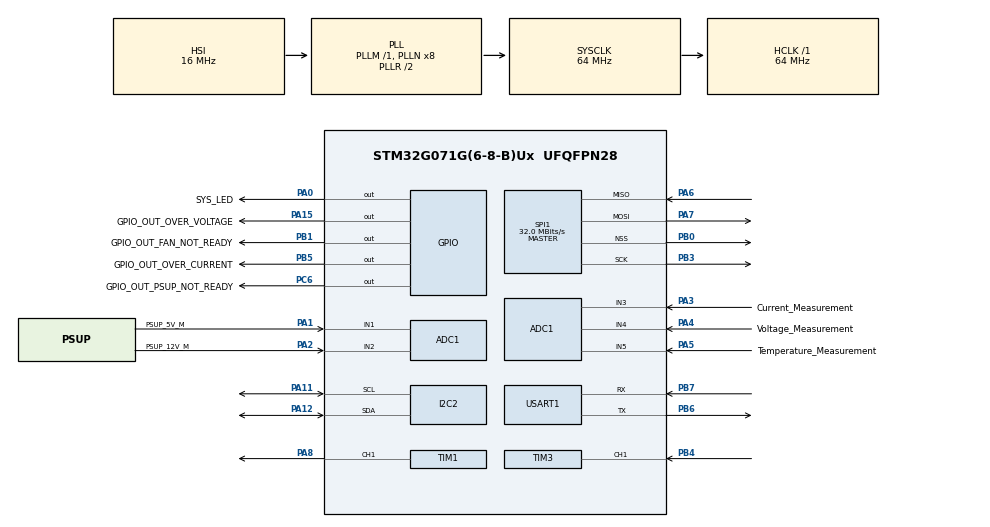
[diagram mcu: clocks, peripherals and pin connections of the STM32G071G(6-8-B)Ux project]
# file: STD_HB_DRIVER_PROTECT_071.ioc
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ADC1.Channel-0\#ChannelRegularConversion=ADC_CHANNEL_1
ADC1.Channel-1\#ChannelRegularConversion=ADC_CHANNEL_2
ADC1.Channel-2\#ChannelRegularConversion=ADC_CHANNEL_3
ADC1.Channel-3\#ChannelRegularConversion=ADC_CHANNEL_4
ADC1.Channel-4\#ChannelRegularConversion=ADC_CHANNEL_5
ADC1.ContinuousConvMode=DISABLE
ADC1.DMAContinuousRequests=ENABLE
ADC1.EOCSelection=ADC_EOC_SEQ_CONV
ADC1.ExternalTrigConv=ADC_EXTERNALTRIG_T6_TRGO
ADC1.NbrOfConversion=5
ADC1.NbrOfConversionFlag=1
ADC1.Overrun=ADC_OVR_DATA_OVERWRITTEN
ADC1.Rank-0\#ChannelRegularConversion=1
ADC1.Rank-1\#ChannelRegularConversion=2
ADC1.Rank-2\#ChannelRegularConversion=3
ADC1.Rank-3\#ChannelRegularConversion=4
ADC1.Rank-4\#ChannelRegularConversion=5
ADC1.SamplingTime-0\#ChannelRegularConversion=ADC_SAMPLINGTIME_COMMON_1
ADC1.SamplingTime-1\#ChannelRegularConversion=ADC_SAMPLINGTIME_COMMON_1
ADC1.SamplingTime-2\#ChannelRegularConversion=ADC_SAMPLINGTIME_COMMON_1
ADC1.SamplingTime-3\#ChannelRegularConversion=ADC_SAMPLINGTIME_COMMON_1
ADC1.SamplingTime-4\#ChannelRegularConversion=ADC_SAMPLINGTIME_COMMON_1
ADC1.SamplingTimeCommon1=ADC_SAMPLETIME_7CYCLES_5
ADC1.SamplingTimeCommon2=ADC_SAMPLETIME_7CYCLES_5
ADC1.SelectedChannel=ADC_CHANNEL_1|ADC_CHANNEL_2|ADC_CHANNEL_3|ADC_CHANNEL_4|ADC_CHANNEL_5
ADC1.master=1
Dma.ADC1.0.Direction=DMA_PERIPH_TO_MEMORY
Dma.ADC1.0.EventEnable=DISABLE
Dma.ADC1.0.Instance=DMA1_Channel1
Dma.ADC1.0.MemDataAlignment=DMA_MDATAALIGN_HALFWORD
Dma.ADC1.0.MemInc=DMA_MINC_ENABLE
Dma.ADC1.0.Mode=DMA_CIRCULAR
Dma.ADC1.0.PeriphDataAlignment=DMA_PDATAALIGN_HALFWORD
Dma.ADC1.0.PeriphInc=DMA_PINC_DISABLE
Dma.ADC1.0.Polarity=HAL_DMAMUX_REQ_GEN_RISING
Dma.ADC1.0.Priority=DMA_PRIORITY_VERY_HIGH
Dma.ADC1.0.RequestNumber=1
Dma.ADC1.0.SignalID=NONE
Dma.ADC1.0.SyncEnable=DISABLE
Dma.ADC1.0.SyncPolarity=HAL_DMAMUX_SYNC_NO_EVENT
Dma.ADC1.0.SyncRequestNumber=1
Dma.ADC1.0.SyncSignalID=NONE
Dma.Request0=ADC1
I2C2.Timing=0x10B17DB5
Mcu.Family=STM32G0
Mcu.Name=STM32G071G(6-8-B)Ux
Mcu.Package=UFQFPN28
NVIC.ADC1_COMP_IRQn=true\:0\:0\:false\:false\:true\:true\:true\:true
NVIC.DMA1_Channel1_IRQn=true\:0\:0\:false\:false\:true\:false\:true\:true
NVIC.TIM3_IRQn=true\:1\:0\:true\:true\:true\:1\:true\:true\:true
NVIC.TIM6_DAC_LPTIM1_IRQn=true\:0\:0\:false\:false\:true\:true\:true\:true
NVIC.USART1_IRQn=true\:0\:0\:false\:false\:true\:true\:true\:true
PA0.GPIO_Label=SYS_LED
PA0.Signal=GPIO_Output
PA1.GPIO_Label=PSUP_5V_M
PA1.Mode=IN1
PA1.Signal=ADC1_IN1
PA11\ [PA9].Mode=I2C
PA11\ [PA9].Signal=I2C2_SCL
PA12\ [PA10].Mode=I2C
PA12\ [PA10].Signal=I2C2_SDA
PA13.Mode=Serial_Wire
PA13.Signal=SYS_SWDIO
PA14-BOOT0.Mode=Serial_Wire
PA14-BOOT0.Signal=SYS_SWCLK
PA15.GPIO_Label=GPIO_OUT_OVER_VOLTAGE
PA15.GPIO_PuPd=GPIO_PULLUP
PA15.GPIO_Speed=GPIO_SPEED_FREQ_VERY_HIGH
PA15.PinState=GPIO_PIN_SET
PA15.Signal=GPIO_Output
PA2.GPIO_Label=PSUP_12V_M
PA2.Mode=IN2
PA2.Signal=ADC1_IN2
PA3.GPIO_Label=Current_Measurement
PA3.Mode=IN3
PA3.Signal=ADC1_IN3
PA4.GPIO_Label=Voltage_Measurement
PA4.Mode=IN4
PA4.Signal=ADC1_IN4
PA5.GPIO_Label=Temperature_Measurement
PA5.Mode=IN5
PA5.Signal=ADC1_IN5
PA6.Mode=Full_Duplex_Master
PA6.Signal=SPI1_MISO
PA7.Mode=Full_Duplex_Master
PA7.Signal=SPI1_MOSI
PA8.Signal=S_TIM1_CH1
PB0.Mode=NSS_Signal_Hard_Output
PB0.Signal=SPI1_NSS
PB1.GPIO_Label=GPIO_OUT_FAN_NOT_READY
PB1.GPIO_PuPd=GPIO_PULLUP
PB1.GPIO_Speed=GPIO_SPEED_FREQ_VERY_HIGH
PB1.PinState=GPIO_PIN_SET
PB1.Signal=GPIO_Output
PB3.Mode=Full_Duplex_Master
PB3.Signal=SPI1_SCK
PB4.GPIO_PuPd=GPIO_PULLUP
PB4.Signal=S_TIM3_CH1
PB5.GPIO_Label=GPIO_OUT_OVER_CURRENT
PB5.GPIO_ModeDefaultOutputPP=GPIO_MODE_OUTPUT_PP
PB5.GPIO_PuPd=GPIO_PULLDOWN
PB5.GPIO_Speed=GPIO_SPEED_FREQ_VERY_HIGH
PB5.PinState=GPIO_PIN_RESET
PB5.Signal=GPIO_Output
PB6.Mode=Asynchronous
PB6.Signal=USART1_TX
PB7.Mode=Asynchronous
PB7.Signal=USART1_RX
PC14-OSC32_IN\ (PC14).Mode=LSE-External-Oscillator
PC14-OSC32_IN\ (PC14).Signal=RCC_OSC32_IN
PC15-OSC32_OUT\ (PC15).Mode=LSE-External-Oscillator
PC15-OSC32_OUT\ (PC15).Signal=RCC_OSC32_OUT
PC6.GPIO_Label=GPIO_OUT_PSUP_NOT_READY
PC6.Signal=GPIO_Output
ProjectManager.HeapSize=0x200
ProjectManager.StackSize=0x400
ProjectManager.TargetToolchain=MDK-ARM V5.32
RCC.ADCFreq_Value=64000000
RCC.AHBFreq_Value=64000000
RCC.CortexFreq_Value=64000000
RCC.EXTERNAL_CLOCK_VALUE=48000
RCC.HCLKFreq_Value=64000000
RCC.HSE_VALUE=8000000
RCC.HSI_VALUE=16000000
RCC.PLLQ=RCC_PLLQ_DIV4
RCC.SYSCLKFreq_VALUE=64000000
RCC.SYSCLKSource=RCC_SYSCLKSOURCE_PLLCLK
RCC.VCOOutputFreq_Value=128000000
SH.S_TIM1_CH1.0=TIM1_CH1,PWM Generation1 CH1
SH.S_TIM3_CH1.0=TIM3_CH1,Input_Capture1_from_TI1
SH.S_TIM3_CH1.1=TIM3_CH1,TriggerSource_TI1FP1
SPI1.CalculateBaudRate=32.0 MBits/s
SPI1.Direction=SPI_DIRECTION_2LINES
SPI1.Mode=SPI_MODE_MASTER
SPI1.VirtualNSS=VM_NSSHARD
SPI1.VirtualType=VM_MASTER
TIM1.AutoReloadPreload=TIM_AUTORELOAD_PRELOAD_ENABLE
TIM1.Channel-PWM\ Generation1\ CH1=TIM_CHANNEL_1
TIM1.OCFastMode_PWM-PWM\ Generation1\ CH1=TIM_OCFAST_ENABLE
TIM1.Period=6400
TIM1.Pulse-PWM\ Generation1\ CH1=3000
TIM3.Channel-Input_Capture1_from_TI1=TIM_CHANNEL_1
TIM3.Channel-Input_Capture2_from_TI1_63=TIM_CHANNEL_2
TIM3.ICFilter_CH1=8
TIM3.ICPolarity_CH2=TIM_INPUTCHANNELPOLARITY_FALLING
TIM3.Prescaler=639
TIM6.AutoReloadPreload=TIM_AUTORELOAD_PRELOAD_ENABLE
TIM6.Period=6399
TIM6.TIM_MasterOutputTrigger=TIM_TRGO_UPDATE
USART1.VirtualMode-Asynchronous=VM_ASYNC
VP_CRC_VS_CRC.Mode=CRC_Activate
VP_TIM1_VS_ClockSourceINT.Mode=Internal
VP_TIM3_VS_ClockSourceINT.Mode=Internal
VP_TIM3_VS_ControllerModeReset.Mode=Reset Mode
VP_TIM3_VS_indirect_ch1.Mode=Input_Capture2_from_TI1_63
VP_TIM6_VS_ClockSourceINT.Mode=Enable_Timer
board=custom

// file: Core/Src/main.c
/* USER CODE BEGIN Header */
/**
 ******************************************************************************
 * @file           : main.c
 * @brief          : Main program body
 ******************************************************************************
 * @attention
 *
 * Copyright (c) 2025 STMicroelectronics.
 * All rights reserved.
 *
 * This software is licensed under terms that can be found in the LICENSE file
 * in the root directory of this software component.
 * If no LICENSE file comes with this software, it is provided AS-IS.
 *
 ******************************************************************************
 */
/* USER CODE END Header */
#include "main.h"

/* USER CODE BEGIN Includes */
#include "eeprom_at24c04.h"
#include <string.h> // 用于 memcmp
#include <stdio.h>  // printf is valid
#include <math.h>
/* USER CODE END Includes */

/* USER CODE BEGIN PD */

// NTC Beta parameter
#define NTC_BETA            3950.0f
// rated temperature
#define NTC_T_NOMINAL_K     (25.0f + 273.15f)
// rated resistance at rated temperature
#define NTC_R_NOMINAL       10000.0f

// divider r fixed
#define DIVIDER_R_FIXED     10000.0f

// ADC MAX value
#define ADC_MAX             4095.0f

// K to C bias
#define KELVIN_TO_CELSIUS   273.15f
/* USER CODE END PD */

ADC_HandleTypeDef hadc1;
DMA_HandleTypeDef hdma_adc1;

CRC_HandleTypeDef hcrc;

I2C_HandleTypeDef hi2c2;

SPI_HandleTypeDef hspi1;

TIM_HandleTypeDef htim1;
TIM_HandleTypeDef htim3;
TIM_HandleTypeDef htim6;

UART_HandleTypeDef huart1;

/* USER CODE BEGIN PV */

// fan rpm calculation
volatile uint32_t uwFanFrequency = 0;
volatile uint32_t uwFanRPM = 0;

// Capture Result
volatile uint32_t g_pulse_width = 0; // pulse time
volatile uint32_t g_period = 0;      // period

// ready flag for pulse
volatile uint8_t g_data_ready_flag = 0;

// conter frequency, Hz
const uint32_t TIM3_COUNTER_CLK_HZ = 100000;

// fan speed feedback
float fan_spd_fbk_krpm;

// fan speed set
float fan_spd_set_pu = 0.5f;

// current temperature in C
float current_temp_C;

// ADC buffer
typedef enum _enum_ADC_channels
{
  ADC_CH_PSUP_5V = 0,
  ADC_CH_PSUP_12V = 1,
  ADC_CH_CURRENT = 2,
  ADC_CH_VOLTAGE = 3,
  ADC_CH_TEMP = 4
} adc_channel_enum;

volatile uint16_t adc_dma_buffer[5];

// Error Registers
// 1 = error occurred, 0 = no error.
uint32_t flag_error_over_cuurent;
uint32_t flag_error_over_voltage;
uint32_t flag_error_psup_not_ready;
uint32_t flag_error_fan_not_ready;

// EEPROM
volatile HAL_StatusTypeDef write_status;
volatile HAL_StatusTypeDef read_status;

// tick count
volatile uint32_t loop_tick;
volatile uint32_t isr_tick;

/* USER CODE END PV */

void SystemClock_Config(void);
static void MX_GPIO_Init(void);
static void MX_DMA_Init(void);
static void MX_ADC1_Init(void);
static void MX_I2C2_Init(void);
static void MX_SPI1_Init(void);
static void MX_TIM1_Init(void);
static void MX_TIM3_Init(void);
static void MX_USART1_UART_Init(void);
static void MX_TIM6_Init(void);
static void MX_CRC_Init(void);
static void MX_NVIC_Init(void);
/* USER CODE BEGIN PFP */
void update_fault_state(void);
float update_fan_speed(void);
float convert_adc_to_temperature(uint16_t adc_value);
/* USER CODE END PFP */

int main(void)
{

  /* MCU Configuration--------------------------------------------------------*/

  /* Reset of all peripherals, Initializes the Flash interface and the Systick. */
  HAL_Init();

  /* USER CODE BEGIN Init */

  // Init error flags
  flag_error_over_cuurent = 1;
  flag_error_over_voltage = 1;
  flag_error_psup_not_ready = 1;
  flag_error_fan_not_ready = 1;

  /* USER CODE END Init */

  /* Configure the system clock */
  SystemClock_Config();

  /* Initialize all configured peripherals */
  MX_GPIO_Init();
  MX_DMA_Init();
  MX_ADC1_Init();
  MX_I2C2_Init();
  MX_SPI1_Init();
  MX_TIM1_Init();
  MX_TIM3_Init();
  MX_USART1_UART_Init();
  MX_TIM6_Init();
  MX_CRC_Init();

  /* Initialize interrupts */
  MX_NVIC_Init();
  /* USER CODE BEGIN 2 */

#if 0
// --- EEPROM Verify Start ---

	// EEPROM Test buffer
#define TEST_BUFFER_SIZE 32
	uint8_t write_buffer[TEST_BUFFER_SIZE];
	uint8_t read_buffer[TEST_BUFFER_SIZE];

// fill buffer 0, 1, 2, ... 31
for(int i = 0; i < TEST_BUFFER_SIZE; i++)
    write_buffer[i] = i;

// 2. 选择一个跨边界的地址
// 我们从地址 0x0F0 (240) 开始写入 32 字节
// 这将测试:
// - 写入 0x0F0 - 0x0FF (240-255) -> 跨 16 字节页
// - 写入 0x100 - 0x10F (256-271) -> 跨 256 字节设备地址
uint16_t test_address = 0x0F0;

// Write EEPROM
//printf("Writing 32 bytes to address 0x%03X...\r\n", test_address);
write_status = EEPROM_Write_Buffer(test_address, write_buffer, TEST_BUFFER_SIZE);

if (write_status != HAL_OK)
{
//    printf("Write FAILED! Status: %d\r\n", write_status);
    while(1); // Stop here if meets error
}

// clear buffer
memset(read_buffer, 0, TEST_BUFFER_SIZE);

// read back EEPROM
//printf("Reading 32 bytes from address 0x%03X...\r\n", test_address);
read_status = EEPROM_Read_Buffer(test_address, read_buffer, TEST_BUFFER_SIZE);

if (read_status != HAL_OK)
{
    //printf("Read FAILED! Status: %d\r\n", read_status);
    while(1); // Stop here if meets error
}

// Compare data
//printf("Comparing data...\r\n");
if (memcmp(write_buffer, read_buffer, TEST_BUFFER_SIZE) == 0)
{
//    printf("--- TEST PASSED! ---\r\n");
//    printf("Data written matches data read.\r\n");
}
else
{
//    printf("--- TEST FAILED! ---\r\n");
//    printf("Data mismatch detected.\r\n");
    for(int i = 0; i < TEST_BUFFER_SIZE; i++)
    {
        if(write_buffer[i] != read_buffer[i])
        {
//            printf("Mismatch at index %d: Wrote %d, Read %d\r\n", i, write_buffer[i], read_buffer[i]);
        }
    }
}

printf("EEPROM Test Passed.\r\n");
// --- EEPROM Verify Done ---

#endif // EEPROM Verify

  // Calibrate ADC
  HAL_ADCEx_Calibration_Start(&hadc1);
  HAL_Delay(1000);

  // Start TIM3, Start FAN Capture
  HAL_TIM_Base_Start(&htim3);

  // rising edge capture
  if (HAL_TIM_IC_Start_IT(&htim3, TIM_CHANNEL_1) != HAL_OK)
  {
    Error_Handler();
  }

	// falling edge capture
	if (HAL_TIM_IC_Start_IT(&htim3, TIM_CHANNEL_2) != HAL_OK)
  {
    Error_Handler();
  }

	// Start TIM 6, ADC trigger
	HAL_TIM_Base_Start(&htim6);

	// Start Conversion
  HAL_ADC_Start_DMA(&hadc1, (uint32_t *)adc_dma_buffer, 5);

	// Start TIM 1, for FAN PWM
	HAL_TIM_Base_Start(&htim1);

  HAL_TIM_PWM_Start(&htim1, TIM_CHANNEL_1);

  /* USER CODE END 2 */

  /* Infinite loop */
  /* USER CODE BEGIN WHILE */

  while (1)
  {
    // update loop tick
    loop_tick++;

    // update fault state
    update_fault_state();

    // LED blink
		if(isr_tick / 10000 % 2 == 1)
			HAL_GPIO_WritePin(SYS_LED_GPIO_Port, SYS_LED_Pin, 0);
		else
			HAL_GPIO_WritePin(SYS_LED_GPIO_Port, SYS_LED_Pin, 1);

    // Temperature
    current_temp_C = convert_adc_to_temperature(adc_dma_buffer[4]);

		if(current_temp_C > 60)
			flag_error_fan_not_ready = 1;
		else
			flag_error_fan_not_ready = 0;

	  // calculate fan speed
		fan_spd_fbk_krpm = update_fan_speed();

		// PSUP judge
		// PSUP_Monitor_12V = 0x83E
    // PSUP_Monitor_5V  = 0x830

    // feed watchdog here

		// for now no error will be detected
		  flag_error_over_cuurent = 0;
      flag_error_over_voltage = 0;
      flag_error_psup_not_ready = 0;
      flag_error_fan_not_ready = 0;

    /* USER CODE END WHILE */

  }
}

void SystemClock_Config(void)
{
  RCC_OscInitTypeDef RCC_OscInitStruct = {0};
  RCC_ClkInitTypeDef RCC_ClkInitStruct = {0};

  /** Configure the main internal regulator output voltage
  */
  HAL_PWREx_ControlVoltageScaling(PWR_REGULATOR_VOLTAGE_SCALE1);

  /** Initializes the RCC Oscillators according to the specified parameters
  * in the RCC_OscInitTypeDef structure.
  */
  RCC_OscInitStruct.OscillatorType = RCC_OSCILLATORTYPE_HSI;
  RCC_OscInitStruct.HSIState = RCC_HSI_ON;
  RCC_OscInitStruct.HSIDiv = RCC_HSI_DIV1;
  RCC_OscInitStruct.HSICalibrationValue = RCC_HSICALIBRATION_DEFAULT;
  RCC_OscInitStruct.PLL.PLLState = RCC_PLL_ON;
  RCC_OscInitStruct.PLL.PLLSource = RCC_PLLSOURCE_HSI;
  RCC_OscInitStruct.PLL.PLLM = RCC_PLLM_DIV1;
  RCC_OscInitStruct.PLL.PLLN = 8;
  RCC_OscInitStruct.PLL.PLLP = RCC_PLLP_DIV2;
  RCC_OscInitStruct.PLL.PLLQ = RCC_PLLQ_DIV4;
  RCC_OscInitStruct.PLL.PLLR = RCC_PLLR_DIV2;
  if (HAL_RCC_OscConfig(&RCC_OscInitStruct) != HAL_OK)
  {
    Error_Handler();
  }

  /** Initializes the CPU, AHB and APB buses clocks
  */
  RCC_ClkInitStruct.ClockType = RCC_CLOCKTYPE_HCLK|RCC_CLOCKTYPE_SYSCLK
                              |RCC_CLOCKTYPE_PCLK1;
  RCC_ClkInitStruct.SYSCLKSource = RCC_SYSCLKSOURCE_PLLCLK;
  RCC_ClkInitStruct.AHBCLKDivider = RCC_SYSCLK_DIV1;
  RCC_ClkInitStruct.APB1CLKDivider = RCC_HCLK_DIV1;

  if (HAL_RCC_ClockConfig(&RCC_ClkInitStruct, FLASH_LATENCY_2) != HAL_OK)
  {
    Error_Handler();
  }
}

/**
  * @brief NVIC Configuration.
  * @retval None
  */
static void MX_NVIC_Init(void)
{
  /* TIM3_IRQn interrupt configuration */
  HAL_NVIC_SetPriority(TIM3_IRQn, 1, 0);
  HAL_NVIC_EnableIRQ(TIM3_IRQn);
}

static void MX_ADC1_Init(void)
{

  ADC_ChannelConfTypeDef sConfig = {0};

  /** Configure the global features of the ADC (Clock, Resolution, Data Alignment and number of conversion)
  */
  hadc1.Instance = ADC1;
  hadc1.Init.ClockPrescaler = ADC_CLOCK_SYNC_PCLK_DIV2;
  hadc1.Init.Resolution = ADC_RESOLUTION_12B;
  hadc1.Init.DataAlign = ADC_DATAALIGN_RIGHT;
  hadc1.Init.ScanConvMode = ADC_SCAN_ENABLE;
  hadc1.Init.EOCSelection = ADC_EOC_SEQ_CONV;
  hadc1.Init.LowPowerAutoWait = DISABLE;
  hadc1.Init.LowPowerAutoPowerOff = DISABLE;
  hadc1.Init.ContinuousConvMode = DISABLE;
  hadc1.Init.NbrOfConversion = 5;
  hadc1.Init.DiscontinuousConvMode = DISABLE;
  hadc1.Init.ExternalTrigConv = ADC_EXTERNALTRIG_T6_TRGO;
  hadc1.Init.ExternalTrigConvEdge = ADC_EXTERNALTRIGCONVEDGE_RISING;
  hadc1.Init.DMAContinuousRequests = ENABLE;
  hadc1.Init.Overrun = ADC_OVR_DATA_OVERWRITTEN;
  hadc1.Init.SamplingTimeCommon1 = ADC_SAMPLETIME_7CYCLES_5;
  hadc1.Init.SamplingTimeCommon2 = ADC_SAMPLETIME_7CYCLES_5;
  hadc1.Init.OversamplingMode = DISABLE;
  hadc1.Init.TriggerFrequencyMode = ADC_TRIGGER_FREQ_HIGH;
  if (HAL_ADC_Init(&hadc1) != HAL_OK)
  {
    Error_Handler();
  }

  /** Configure Regular Channel
  */
  sConfig.Channel = ADC_CHANNEL_1;
  sConfig.Rank = ADC_REGULAR_RANK_1;
  sConfig.SamplingTime = ADC_SAMPLINGTIME_COMMON_1;
  if (HAL_ADC_ConfigChannel(&hadc1, &sConfig) != HAL_OK)
  {
    Error_Handler();
  }

  /** Configure Regular Channel
  */
  sConfig.Channel = ADC_CHANNEL_2;
  sConfig.Rank = ADC_REGULAR_RANK_2;
  if (HAL_ADC_ConfigChannel(&hadc1, &sConfig) != HAL_OK)
  {
    Error_Handler();
  }

  /** Configure Regular Channel
  */
  sConfig.Channel = ADC_CHANNEL_3;
  sConfig.Rank = ADC_REGULAR_RANK_3;
  if (HAL_ADC_ConfigChannel(&hadc1, &sConfig) != HAL_OK)
  {
    Error_Handler();
  }

  /** Configure Regular Channel
  */
  sConfig.Channel = ADC_CHANNEL_4;
  sConfig.Rank = ADC_REGULAR_RANK_4;
  if (HAL_ADC_ConfigChannel(&hadc1, &sConfig) != HAL_OK)
  {
    Error_Handler();
  }

  /** Configure Regular Channel
  */
  sConfig.Channel = ADC_CHANNEL_5;
  sConfig.Rank = ADC_REGULAR_RANK_5;
  if (HAL_ADC_ConfigChannel(&hadc1, &sConfig) != HAL_OK)
  {
    Error_Handler();
  }

}

static void MX_CRC_Init(void)
{

  hcrc.Instance = CRC;
  hcrc.Init.DefaultPolynomialUse = DEFAULT_POLYNOMIAL_ENABLE;
  hcrc.Init.DefaultInitValueUse = DEFAULT_INIT_VALUE_ENABLE;
  hcrc.Init.InputDataInversionMode = CRC_INPUTDATA_INVERSION_NONE;
  hcrc.Init.OutputDataInversionMode = CRC_OUTPUTDATA_INVERSION_DISABLE;
  hcrc.InputDataFormat = CRC_INPUTDATA_FORMAT_BYTES;
  if (HAL_CRC_Init(&hcrc) != HAL_OK)
  {
    Error_Handler();
  }

}

static void MX_I2C2_Init(void)
{

  hi2c2.Instance = I2C2;
  hi2c2.Init.Timing = 0x10B17DB5;
  hi2c2.Init.OwnAddress1 = 0;
  hi2c2.Init.AddressingMode = I2C_ADDRESSINGMODE_7BIT;
  hi2c2.Init.DualAddressMode = I2C_DUALADDRESS_DISABLE;
  hi2c2.Init.OwnAddress2 = 0;
  hi2c2.Init.OwnAddress2Masks = I2C_OA2_NOMASK;
  hi2c2.Init.GeneralCallMode = I2C_GENERALCALL_DISABLE;
  hi2c2.Init.NoStretchMode = I2C_NOSTRETCH_DISABLE;
  if (HAL_I2C_Init(&hi2c2) != HAL_OK)
  {
    Error_Handler();
  }

  /** Configure Analogue filter
  */
  if (HAL_I2CEx_ConfigAnalogFilter(&hi2c2, I2C_ANALOGFILTER_ENABLE) != HAL_OK)
  {
    Error_Handler();
  }

  /** Configure Digital filter
  */
  if (HAL_I2CEx_ConfigDigitalFilter(&hi2c2, 0) != HAL_OK)
  {
    Error_Handler();
  }

}

static void MX_SPI1_Init(void)
{

  /* SPI1 parameter configuration*/
  hspi1.Instance = SPI1;
  hspi1.Init.Mode = SPI_MODE_MASTER;
  hspi1.Init.Direction = SPI_DIRECTION_2LINES;
  hspi1.Init.DataSize = SPI_DATASIZE_4BIT;
  hspi1.Init.CLKPolarity = SPI_POLARITY_LOW;
  hspi1.Init.CLKPhase = SPI_PHASE_1EDGE;
  hspi1.Init.NSS = SPI_NSS_HARD_OUTPUT;
  hspi1.Init.BaudRatePrescaler = SPI_BAUDRATEPRESCALER_2;
  hspi1.Init.FirstBit = SPI_FIRSTBIT_MSB;
  hspi1.Init.TIMode = SPI_TIMODE_DISABLE;
  hspi1.Init.CRCCalculation = SPI_CRCCALCULATION_DISABLE;
  hspi1.Init.CRCPolynomial = 7;
  hspi1.Init.CRCLength = SPI_CRC_LENGTH_DATASIZE;
  hspi1.Init.NSSPMode = SPI_NSS_PULSE_ENABLE;
  if (HAL_SPI_Init(&hspi1) != HAL_OK)
  {
    Error_Handler();
  }

}

static void MX_TIM1_Init(void)
{

  TIM_ClockConfigTypeDef sClockSourceConfig = {0};
  TIM_MasterConfigTypeDef sMasterConfig = {0};
  TIM_OC_InitTypeDef sConfigOC = {0};
  TIM_BreakDeadTimeConfigTypeDef sBreakDeadTimeConfig = {0};

  htim1.Instance = TIM1;
  htim1.Init.Prescaler = 0;
  htim1.Init.CounterMode = TIM_COUNTERMODE_UP;
  htim1.Init.Period = 6400;
  htim1.Init.ClockDivision = TIM_CLOCKDIVISION_DIV1;
  htim1.Init.RepetitionCounter = 0;
  htim1.Init.AutoReloadPreload = TIM_AUTORELOAD_PRELOAD_ENABLE;
  if (HAL_TIM_Base_Init(&htim1) != HAL_OK)
  {
    Error_Handler();
  }
  sClockSourceConfig.ClockSource = TIM_CLOCKSOURCE_INTERNAL;
  if (HAL_TIM_ConfigClockSource(&htim1, &sClockSourceConfig) != HAL_OK)
  {
    Error_Handler();
  }
  if (HAL_TIM_PWM_Init(&htim1) != HAL_OK)
  {
    Error_Handler();
  }
  sMasterConfig.MasterOutputTrigger = TIM_TRGO_RESET;
  sMasterConfig.MasterOutputTrigger2 = TIM_TRGO2_RESET;
  sMasterConfig.MasterSlaveMode = TIM_MASTERSLAVEMODE_DISABLE;
  if (HAL_TIMEx_MasterConfigSynchronization(&htim1, &sMasterConfig) != HAL_OK)
  {
    Error_Handler();
  }
  sConfigOC.OCMode = TIM_OCMODE_PWM1;
  sConfigOC.Pulse = 3000;
  sConfigOC.OCPolarity = TIM_OCPOLARITY_HIGH;
  sConfigOC.OCNPolarity = TIM_OCNPOLARITY_HIGH;
  sConfigOC.OCFastMode = TIM_OCFAST_ENABLE;
  sConfigOC.OCIdleState = TIM_OCIDLESTATE_RESET;
  sConfigOC.OCNIdleState = TIM_OCNIDLESTATE_RESET;
  if (HAL_TIM_PWM_ConfigChannel(&htim1, &sConfigOC, TIM_CHANNEL_1) != HAL_OK)
  {
    Error_Handler();
  }
  sBreakDeadTimeConfig.OffStateRunMode = TIM_OSSR_DISABLE;
  sBreakDeadTimeConfig.OffStateIDLEMode = TIM_OSSI_DISABLE;
  sBreakDeadTimeConfig.LockLevel = TIM_LOCKLEVEL_OFF;
  sBreakDeadTimeConfig.DeadTime = 0;
  sBreakDeadTimeConfig.BreakState = TIM_BREAK_DISABLE;
  sBreakDeadTimeConfig.BreakPolarity = TIM_BREAKPOLARITY_HIGH;
  sBreakDeadTimeConfig.BreakFilter = 0;
  sBreakDeadTimeConfig.BreakAFMode = TIM_BREAK_AFMODE_INPUT;
  sBreakDeadTimeConfig.Break2State = TIM_BREAK2_DISABLE;
  sBreakDeadTimeConfig.Break2Polarity = TIM_BREAK2POLARITY_HIGH;
  sBreakDeadTimeConfig.Break2Filter = 0;
  sBreakDeadTimeConfig.Break2AFMode = TIM_BREAK_AFMODE_INPUT;
  sBreakDeadTimeConfig.AutomaticOutput = TIM_AUTOMATICOUTPUT_DISABLE;
  if (HAL_TIMEx_ConfigBreakDeadTime(&htim1, &sBreakDeadTimeConfig) != HAL_OK)
  {
    Error_Handler();
  }
  HAL_TIM_MspPostInit(&htim1);

}

static void MX_TIM3_Init(void)
{

  TIM_ClockConfigTypeDef sClockSourceConfig = {0};
  TIM_SlaveConfigTypeDef sSlaveConfig = {0};
  TIM_MasterConfigTypeDef sMasterConfig = {0};
  TIM_IC_InitTypeDef sConfigIC = {0};

  htim3.Instance = TIM3;
  htim3.Init.Prescaler = 639;
  htim3.Init.CounterMode = TIM_COUNTERMODE_UP;
  htim3.Init.Period = 65535;
  htim3.Init.ClockDivision = TIM_CLOCKDIVISION_DIV1;
  htim3.Init.AutoReloadPreload = TIM_AUTORELOAD_PRELOAD_DISABLE;
  if (HAL_TIM_Base_Init(&htim3) != HAL_OK)
  {
    Error_Handler();
  }
  sClockSourceConfig.ClockSource = TIM_CLOCKSOURCE_INTERNAL;
  if (HAL_TIM_ConfigClockSource(&htim3, &sClockSourceConfig) != HAL_OK)
  {
    Error_Handler();
  }
  if (HAL_TIM_IC_Init(&htim3) != HAL_OK)
  {
    Error_Handler();
  }
  sSlaveConfig.SlaveMode = TIM_SLAVEMODE_RESET;
  sSlaveConfig.InputTrigger = TIM_TS_TI1FP1;
  sSlaveConfig.TriggerPolarity = TIM_INPUTCHANNELPOLARITY_RISING;
  sSlaveConfig.TriggerFilter = 0;
  if (HAL_TIM_SlaveConfigSynchro(&htim3, &sSlaveConfig) != HAL_OK)
  {
    Error_Handler();
  }
  sMasterConfig.MasterOutputTrigger = TIM_TRGO_RESET;
  sMasterConfig.MasterSlaveMode = TIM_MASTERSLAVEMODE_DISABLE;
  if (HAL_TIMEx_MasterConfigSynchronization(&htim3, &sMasterConfig) != HAL_OK)
  {
    Error_Handler();
  }
  sConfigIC.ICPolarity = TIM_INPUTCHANNELPOLARITY_RISING;
  sConfigIC.ICSelection = TIM_ICSELECTION_DIRECTTI;
  sConfigIC.ICPrescaler = TIM_ICPSC_DIV1;
  sConfigIC.ICFilter = 8;
  if (HAL_TIM_IC_ConfigChannel(&htim3, &sConfigIC, TIM_CHANNEL_1) != HAL_OK)
  {
    Error_Handler();
  }
  sConfigIC.ICPolarity = TIM_INPUTCHANNELPOLARITY_FALLING;
  sConfigIC.ICSelection = TIM_ICSELECTION_INDIRECTTI;
  sConfigIC.ICFilter = 0;
  if (HAL_TIM_IC_ConfigChannel(&htim3, &sConfigIC, TIM_CHANNEL_2) != HAL_OK)
  {
    Error_Handler();
  }

}

static void MX_TIM6_Init(void)
{

  TIM_MasterConfigTypeDef sMasterConfig = {0};

  htim6.Instance = TIM6;
  htim6.Init.Prescaler = 0;
  htim6.Init.CounterMode = TIM_COUNTERMODE_UP;
  htim6.Init.Period = 6399;
  htim6.Init.AutoReloadPreload = TIM_AUTORELOAD_PRELOAD_ENABLE;
  if (HAL_TIM_Base_Init(&htim6) != HAL_OK)
  {
    Error_Handler();
  }
  sMasterConfig.MasterOutputTrigger = TIM_TRGO_UPDATE;
  sMasterConfig.MasterSlaveMode = TIM_MASTERSLAVEMODE_DISABLE;
  if (HAL_TIMEx_MasterConfigSynchronization(&htim6, &sMasterConfig) != HAL_OK)
  {
    Error_Handler();
  }

}

static void MX_USART1_UART_Init(void)
{

  huart1.Instance = USART1;
  huart1.Init.BaudRate = 115200;
  huart1.Init.WordLength = UART_WORDLENGTH_8B;
  huart1.Init.StopBits = UART_STOPBITS_1;
  huart1.Init.Parity = UART_PARITY_NONE;
  huart1.Init.Mode = UART_MODE_TX_RX;
  huart1.Init.HwFlowCtl = UART_HWCONTROL_NONE;
  huart1.Init.OverSampling = UART_OVERSAMPLING_16;
  huart1.Init.OneBitSampling = UART_ONE_BIT_SAMPLE_DISABLE;
  huart1.Init.ClockPrescaler = UART_PRESCALER_DIV1;
  huart1.AdvancedInit.AdvFeatureInit = UART_ADVFEATURE_NO_INIT;
  if (HAL_UART_Init(&huart1) != HAL_OK)
  {
    Error_Handler();
  }
  if (HAL_UARTEx_SetTxFifoThreshold(&huart1, UART_TXFIFO_THRESHOLD_1_8) != HAL_OK)
  {
    Error_Handler();
  }
  if (HAL_UARTEx_SetRxFifoThreshold(&huart1, UART_RXFIFO_THRESHOLD_1_8) != HAL_OK)
  {
    Error_Handler();
  }
  if (HAL_UARTEx_DisableFifoMode(&huart1) != HAL_OK)
  {
    Error_Handler();
  }

}

static void MX_DMA_Init(void)
{

  /* DMA controller clock enable */
  __HAL_RCC_DMA1_CLK_ENABLE();

  /* DMA interrupt init */
  /* DMA1_Channel1_IRQn interrupt configuration */
  HAL_NVIC_SetPriority(DMA1_Channel1_IRQn, 0, 0);
  HAL_NVIC_EnableIRQ(DMA1_Channel1_IRQn);

}

static void MX_GPIO_Init(void)
{
  GPIO_InitTypeDef GPIO_InitStruct = {0};

  /* GPIO Ports Clock Enable */
  __HAL_RCC_GPIOC_CLK_ENABLE();
  __HAL_RCC_GPIOA_CLK_ENABLE();
  __HAL_RCC_GPIOB_CLK_ENABLE();

  /*Configure GPIO pin Output Level */
  HAL_GPIO_WritePin(SYS_LED_GPIO_Port, SYS_LED_Pin, GPIO_PIN_RESET);

  /*Configure GPIO pin Output Level */
  HAL_GPIO_WritePin(GPIO_OUT_FAN_NOT_READY_GPIO_Port, GPIO_OUT_FAN_NOT_READY_Pin, GPIO_PIN_SET);

  /*Configure GPIO pin Output Level */
  HAL_GPIO_WritePin(GPIO_OUT_PSUP_NOT_READY_GPIO_Port, GPIO_OUT_PSUP_NOT_READY_Pin, GPIO_PIN_RESET);

  /*Configure GPIO pin Output Level */
  HAL_GPIO_WritePin(GPIO_OUT_OVER_VOLTAGE_GPIO_Port, GPIO_OUT_OVER_VOLTAGE_Pin, GPIO_PIN_SET);

  /*Configure GPIO pin Output Level */
  HAL_GPIO_WritePin(GPIO_OUT_OVER_CURRENT_GPIO_Port, GPIO_OUT_OVER_CURRENT_Pin, GPIO_PIN_RESET);

  /*Configure GPIO pin : SYS_LED_Pin */
  GPIO_InitStruct.Pin = SYS_LED_Pin;
  GPIO_InitStruct.Mode = GPIO_MODE_OUTPUT_PP;
  GPIO_InitStruct.Pull = GPIO_NOPULL;
  GPIO_InitStruct.Speed = GPIO_SPEED_FREQ_LOW;
  HAL_GPIO_Init(SYS_LED_GPIO_Port, &GPIO_InitStruct);

  /*Configure GPIO pin : GPIO_OUT_FAN_NOT_READY_Pin */
  GPIO_InitStruct.Pin = GPIO_OUT_FAN_NOT_READY_Pin;
  GPIO_InitStruct.Mode = GPIO_MODE_OUTPUT_PP;
  GPIO_InitStruct.Pull = GPIO_PULLUP;
  GPIO_InitStruct.Speed = GPIO_SPEED_FREQ_VERY_HIGH;
  HAL_GPIO_Init(GPIO_OUT_FAN_NOT_READY_GPIO_Port, &GPIO_InitStruct);

  /*Configure GPIO pin : GPIO_OUT_PSUP_NOT_READY_Pin */
  GPIO_InitStruct.Pin = GPIO_OUT_PSUP_NOT_READY_Pin;
  GPIO_InitStruct.Mode = GPIO_MODE_OUTPUT_PP;
  GPIO_InitStruct.Pull = GPIO_NOPULL;
  GPIO_InitStruct.Speed = GPIO_SPEED_FREQ_LOW;
  HAL_GPIO_Init(GPIO_OUT_PSUP_NOT_READY_GPIO_Port, &GPIO_InitStruct);

  /*Configure GPIO pin : GPIO_OUT_OVER_VOLTAGE_Pin */
  GPIO_InitStruct.Pin = GPIO_OUT_OVER_VOLTAGE_Pin;
  GPIO_InitStruct.Mode = GPIO_MODE_OUTPUT_PP;
  GPIO_InitStruct.Pull = GPIO_PULLUP;
  GPIO_InitStruct.Speed = GPIO_SPEED_FREQ_VERY_HIGH;
  HAL_GPIO_Init(GPIO_OUT_OVER_VOLTAGE_GPIO_Port, &GPIO_InitStruct);

  /*Configure GPIO pin : GPIO_OUT_OVER_CURRENT_Pin */
  GPIO_InitStruct.Pin = GPIO_OUT_OVER_CURRENT_Pin;
  GPIO_InitStruct.Mode = GPIO_MODE_OUTPUT_PP;
  GPIO_InitStruct.Pull = GPIO_PULLDOWN;
  GPIO_InitStruct.Speed = GPIO_SPEED_FREQ_VERY_HIGH;
  HAL_GPIO_Init(GPIO_OUT_OVER_CURRENT_GPIO_Port, &GPIO_InitStruct);

}

/* USER CODE BEGIN 4 */

#if 0
/**
  * @brief  重定向 C 库的 _write 函数到 UART1
  * @param  file: 文件描述符, 1 表示 stdout
  * @param  ptr:  要发送的数据缓冲区指针
  * @param  len:  数据长度
  * @retval int:  成功发送的字节数
  */
int _write(int file, char *ptr, int len)
{
  // 检查文件描述符是否为 stdout (标准输出)
  if (file == 1)
  {
    // 使用 HAL 库将数据通过 UART1 发送出去
    // huart1 是 CubeMX 自动生成的 UART1 句柄
    // (uint8_t*)ptr 是数据
    // len 是长度
    // HAL_MAX_DELAY 表示使用阻塞模式发送，直到发送完成或超时
    if (HAL_UART_Transmit(&huart1, (uint8_t *)ptr, len, HAL_MAX_DELAY) == HAL_OK)
    {
      return len; // 返回成功发送的字节数
    }
  }

  // 对于其他文件描述符 (如 stderr) 或发送失败，返回 -1
  return -1;
}

#endif // _write

/**
 * @brief  重定向 C 库的 fputc 函数到 UART1 (Keil MDK-ARM)
 * @param  ch:   要发送的字符
 * @param  f:    文件指针 (未使用)
 * @retval int:  返回发送的字符
 */
int fputc(int ch, FILE *f)
{
  // 使用 HAL 库将单个字符 (ch) 通过 UART1 发送出去
  // huart1 是 CubeMX 自动生成的 UART1 句柄
  // (uint8_t *)&ch 是将 int 类型的 ch 转换为 uint8_t 指针
  // 1 是长度
  // HAL_MAX_DELAY 表示使用阻塞模式发送
  if (HAL_UART_Transmit(&huart1, (uint8_t *)&ch, 1, HAL_MAX_DELAY) == HAL_OK)
  {
    return ch; // 发送成功，返回该字符
  }
  else
  {
    return -1; // 发送失败
  }
}

/**
 * @brief  ���벶���жϻص�����
 * @param  htim: ��ʱ�����
 * @retval None
 */
void HAL_TIM_IC_CaptureCallback(TIM_HandleTypeDef *htim)
{
  // TIM3 FAN TECH capture result
  if (htim->Instance == TIM3)
  {

    if (htim->Channel == HAL_TIM_ACTIVE_CHANNEL_1)
    {
			// Rising edge capture result
      g_period = HAL_TIM_ReadCapturedValue(htim, TIM_CHANNEL_1);
    }
    else if (htim->Channel == HAL_TIM_ACTIVE_CHANNEL_2)
    {
      // falling edge capture result
      g_pulse_width = HAL_TIM_ReadCapturedValue(htim, TIM_CHANNEL_2);
    }

  }
}

// ADC result
void HAL_ADC_ConvCpltCallback(ADC_HandleTypeDef *hadc)
{
  if (hadc->Instance == ADC1)
  {
    isr_tick++;

  }
}

void update_fault_state(void)
{
  if (!flag_error_over_cuurent)
    HAL_GPIO_WritePin(GPIO_OUT_OVER_CURRENT_GPIO_Port, GPIO_OUT_OVER_CURRENT_Pin, 0);
  else
    HAL_GPIO_WritePin(GPIO_OUT_OVER_CURRENT_GPIO_Port, GPIO_OUT_OVER_CURRENT_Pin, 1);

  if (!flag_error_over_voltage)
    HAL_GPIO_WritePin(GPIO_OUT_FAN_NOT_READY_GPIO_Port, GPIO_OUT_FAN_NOT_READY_Pin, 0);
  else
    HAL_GPIO_WritePin(GPIO_OUT_FAN_NOT_READY_GPIO_Port, GPIO_OUT_FAN_NOT_READY_Pin, 1);

  if (!flag_error_psup_not_ready)
    HAL_GPIO_WritePin(GPIO_OUT_PSUP_NOT_READY_GPIO_Port, GPIO_OUT_PSUP_NOT_READY_Pin, 0);
  else
    HAL_GPIO_WritePin(GPIO_OUT_PSUP_NOT_READY_GPIO_Port, GPIO_OUT_PSUP_NOT_READY_Pin, 1);

  if (!flag_error_fan_not_ready)
    HAL_GPIO_WritePin(GPIO_OUT_OVER_VOLTAGE_GPIO_Port, GPIO_OUT_OVER_VOLTAGE_Pin, 0);
  else
    HAL_GPIO_WritePin(GPIO_OUT_OVER_VOLTAGE_GPIO_Port, GPIO_OUT_OVER_VOLTAGE_Pin, 1);
}

float update_fan_speed(void)
{
	// BUG REPORT
	// when fan is stop the value will keep the last number which is a wrong number.

	// protect fan spd target set
	if(fan_spd_set_pu > 1.0f)
		fan_spd_set_pu = 1.0f;
	if(fan_spd_set_pu < 0.0f)
		fan_spd_set_pu = 0.0f;

	// update fan spd set
	uint32_t fan_target = 6400 * fan_spd_set_pu;
	__HAL_TIM_SetCompare(&htim1, TIM_CHANNEL_1, fan_target);

	return 3000.0f / g_period;
}

/**
 * @brief convert ADC result to C
 * @param adc_value 12-bit source value (0-4095)
 * @return temperature in C
 */
float convert_adc_to_temperature(uint16_t adc_value)
{
    float r_ntc;
    float temperature_k, temperature_c;

    // --- 1. 处理 ADC 边缘情况 ---

    // ADC = 0, R_ntc 趋近于 0 (短路), log(0) 无意义
    // 返回一个极高温度值表示错误
    if (adc_value < 1)
    {
        return 999.0f; // 表示短路
    }

    // ADC = 4095, R_ntc 趋近于无穷大 (开路)
    // (ADC_MAX - adc_value) 会导致除以零
    // 返回一个极低温度值表示错误
    if (adc_value >= (uint16_t)ADC_MAX)
    {
        return -273.15f; // 表示开路
    }

    // --- 2. ADC 读数 -> NTC 电阻 ---
    // R_ntc = R_fixed * (adc_value / (4095 - adc_value))
    r_ntc = DIVIDER_R_FIXED * ( (float)adc_value / (ADC_MAX - (float)adc_value) );

    // --- 3. NTC 电阻 -> 温度 ---

    // 计算 1/T = 1/T0 + (1/B) * ln(R_ntc / R0)
    float inv_t = (1.0f / NTC_T_NOMINAL_K) + (1.0f / NTC_BETA) * logf(r_ntc / NTC_R_NOMINAL);

    // T (开尔文) = 1 / (1/T)
    temperature_k = 1.0f / inv_t;

    // 转换为摄氏度
    temperature_c = temperature_k - KELVIN_TO_CELSIUS;

    return temperature_c;
}

/* USER CODE END 4 */

void Error_Handler(void)
{
  __disable_irq();
  while (1)
  {
  }
}
